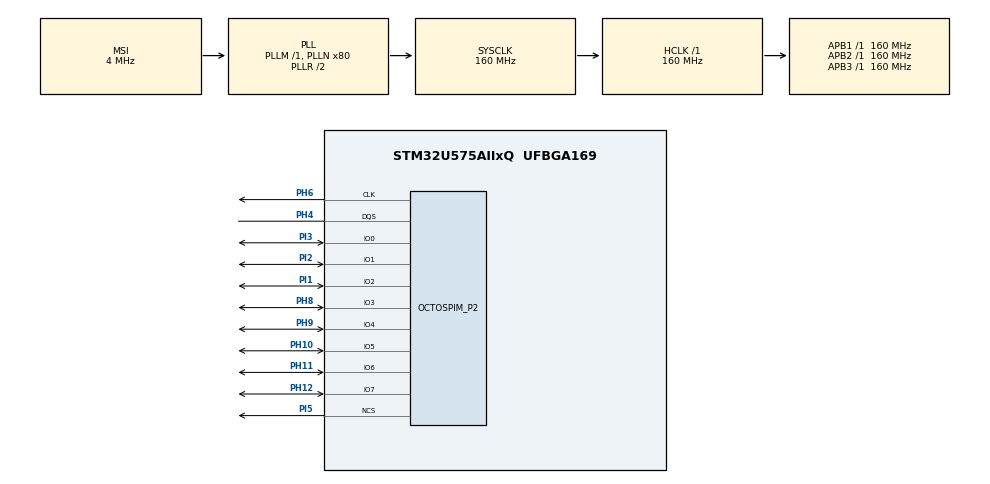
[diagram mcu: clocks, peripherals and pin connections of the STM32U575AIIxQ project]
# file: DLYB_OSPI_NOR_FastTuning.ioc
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CORTEX_M33_NS.userName=CORTEX_M33
Mcu.Family=STM32U5
Mcu.Name=STM32U575AIIxQ
Mcu.Package=UFBGA169
NVIC.OCTOSPI2_IRQn=true\:0\:0\:false\:false\:true\:true\:true\:true
NVIC.PriorityGroup=NVIC_PRIORITYGROUP_4
OCTOSPI2.ChipSelectBoundary=0
OCTOSPI2.ChipSelectHighTime=2
OCTOSPI2.ClockPrescaler=2
OCTOSPI2.DelayBlockBypass=HAL_OSPI_DELAY_BLOCK_USED
OCTOSPI2.DelayHoldQuarterCycle=HAL_OSPI_DHQC_ENABLE
OCTOSPI2.DeviceSize=26
OCTOSPI2.FifoThreshold=4
OCTOSPI2.MemoryType=HAL_OSPI_MEMTYPE_MACRONIX
OCTOSPI2.PhaseSel=0x2
OCTOSPI2.Units=0x38
PH10.GPIO_Speed_High_Default=GPIO_SPEED_FREQ_HIGH
PH10.Mode=OCTOSPI2_IOH_Port2H
PH10.Signal=OCTOSPIM_P2_IO5
PH11.GPIO_Speed_High_Default=GPIO_SPEED_FREQ_HIGH
PH11.Mode=OCTOSPI2_IOH_Port2H
PH11.Signal=OCTOSPIM_P2_IO6
PH12.GPIO_Speed_High_Default=GPIO_SPEED_FREQ_HIGH
PH12.Mode=OCTOSPI2_IOH_Port2H
PH12.Signal=OCTOSPIM_P2_IO7
PH4.GPIO_PuPd=GPIO_NOPULL
PH4.GPIO_Speed_High_Default=GPIO_SPEED_FREQ_HIGH
PH4.Mode=OCTOSPI2_Port2_DQS
PH4.Signal=OCTOSPIM_P2_DQS
PH6.GPIO_Speed_High_Default=GPIO_SPEED_FREQ_HIGH
PH6.Mode=O2_P2_CLK
PH6.Signal=OCTOSPIM_P2_CLK
PH8.GPIO_Speed_High_Default=GPIO_SPEED_FREQ_HIGH
PH8.Mode=OCTOSPI2_IOL_Port2L
PH8.Signal=OCTOSPIM_P2_IO3
PH9.GPIO_Speed_High_Default=GPIO_SPEED_FREQ_HIGH
PH9.Mode=OCTOSPI2_IOH_Port2H
PH9.Signal=OCTOSPIM_P2_IO4
PI1.GPIO_Speed_High_Default=GPIO_SPEED_FREQ_HIGH
PI1.Mode=OCTOSPI2_IOL_Port2L
PI1.Signal=OCTOSPIM_P2_IO2
PI2.GPIO_Speed_High_Default=GPIO_SPEED_FREQ_HIGH
PI2.Mode=OCTOSPI2_IOL_Port2L
PI2.Signal=OCTOSPIM_P2_IO1
PI3.GPIO_Speed_High_Default=GPIO_SPEED_FREQ_HIGH
PI3.Mode=OCTOSPI2_IOL_Port2L
PI3.Signal=OCTOSPIM_P2_IO0
PI5.GPIO_PuPd=GPIO_NOPULL
PI5.GPIO_Speed_High_Default=GPIO_SPEED_FREQ_HIGH
PI5.Mode=OCTOSPI2_Port2_NCS
PI5.Signal=OCTOSPIM_P2_NCS
PWR.PowerMode=PWR_SMPS_SUPPLY
ProjectManager.HeapSize=0x200
ProjectManager.StackSize=0x1000
ProjectManager.TargetToolchain=EWARM V8.50
RCC.ADCFreq_Value=16000000
RCC.AHBFreq_Value=160000000
RCC.APB1Freq_Value=160000000
RCC.APB1TimFreq_Value=160000000
RCC.APB2Freq_Value=160000000
RCC.APB2TimFreq_Value=160000000
RCC.APB3Freq_Value=160000000
RCC.CortexFreq_Value=160000000
RCC.DACCLockSelectionVirtual=RCC_DAC1CLKSOURCE_LSI
RCC.DACCLockSelectionVirtualString=RCC_DAC1CLKSOURCE_LSI
RCC.EPOD_VALUE=4000000
RCC.HCLKFreq_Value=160000000
RCC.HSE_VALUE=16000000
RCC.HSI48_VALUE=48000000
RCC.HSI_VALUE=16000000
RCC.LSE_VALUE=32768
RCC.LSIDIV_VALUE=32000
RCC.MSI_VALUE=4000000
RCC.PLLN=80
RCC.SYSCLKFreq_VALUE=160000000
RCC.SYSCLKSource=RCC_SYSCLKSOURCE_PLLCLK
RCC.USBFreq_Value=48000000
RCC.VCOOutputFreq_Value=320000000
VP_ICACHE_VS_ICACHE.Mode=DirectMappedCache
VP_LPBAMQUEUE_VS_QUEUE.Mode=QUEUEMODE
VP_LPBAM_VS_SIG1.Mode=SmartRun
VP_LPBAM_VS_SIG4.Mode=LPDMA1
VP_OCTOSPI2_VS_octo.Mode=octo_mode
VP_PWR_VS_DBSignals.Mode=DisableDeadBatterySignals
VP_PWR_VS_LPOM.Mode=PowerOptimisation
VP_PWR_VS_SECSignals.Mode=Security/Privilege
board=custom

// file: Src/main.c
/* USER CODE BEGIN Header */
/**
  ******************************************************************************
  * @file           : main.c
  * @brief          : Main program body
  ******************************************************************************
  * @attention
  *
  * Copyright (c) 2021 STMicroelectronics.
  * All rights reserved.
  *
  * This software is licensed under terms that can be found in the LICENSE file
  * in the root directory of this software component.
  * If no LICENSE file comes with this software, it is provided AS-IS.
  *
  ******************************************************************************
  */
/* USER CODE END Header */
#include "main.h"

OSPI_HandleTypeDef hospi2;

/* USER CODE BEGIN PV */
__IO uint8_t CmdCplt;

/* Buffer used for transmission */
uint8_t aTxBuffer[] = " ****Memory-mapped OSPI communication****  ****Memory-mapped OSPI communication****  ****Memory-mapped OSPI communication****  ****Memory-mapped OSPI communication****  ****Memory-mapped OSPI communication****  ****Memory-mapped OSPI communication**** ";
LL_DLYB_CfgTypeDef dlyb_cfg,dlyb_cfg_test;
/* USER CODE END PV */

void SystemClock_Config(void);
static void SystemPower_Config(void);
static void MX_GPIO_Init(void);
static void MX_ICACHE_Init(void);
static void MX_OCTOSPI2_Init(void);
/* USER CODE BEGIN PFP */
static void OSPI_WriteEnable(OSPI_HandleTypeDef *hospi);
static void OSPI_AutoPollingMemReady(OSPI_HandleTypeDef *hospi);
static void OSPI_OctalDtrModeCfg(OSPI_HandleTypeDef *hospi);
/* USER CODE END PFP */

int main(void)
{

  /* USER CODE BEGIN 1 */
  /* STM32U5xx HAL library initialization:
       - Systick timer is configured by default as source of time base, but user
         can eventually implement his proper time base source (a general purpose
         timer for example or other time source), keeping in mind that Time base
         duration should be kept 1ms since PPP_TIMEOUT_VALUEs are defined and
         handled in milliseconds basis.
       - Set NVIC Group Priority to 3
       - Low Level Initialization
     */
  /* USER CODE END 1 */

  /* MCU Configuration--------------------------------------------------------*/

  /* Reset of all peripherals, Initializes the Flash interface and the Systick. */
  HAL_Init();

  /* USER CODE BEGIN Init */
  OSPI_RegularCmdTypeDef sCommand = {0};
  OSPI_MemoryMappedTypeDef sMemMappedCfg = {0};
  uint32_t address = 0;
  uint16_t index;
  __IO uint8_t step = 0;
  __IO uint8_t *mem_addr;
  /* USER CODE END Init */

  /* Configure the System Power */
  SystemPower_Config();

  /* Configure the system clock */
  SystemClock_Config();

  /* USER CODE BEGIN SysInit */
  BSP_LED_Init(LED_GREEN);
  BSP_LED_Init(LED_RED);
  /* USER CODE END SysInit */

  /* Initialize all configured peripherals */
  MX_GPIO_Init();
  MX_ICACHE_Init();
  MX_OCTOSPI2_Init();
  /* USER CODE BEGIN 2 */
  /* Delay block configuration ------------------------------------------------ */
  if (HAL_OSPI_DLYB_GetClockPeriod(&hospi2,&dlyb_cfg) != HAL_OK)
  {
    BSP_LED_On(LED_RED);
  }

  /*when DTR, PhaseSel is divided by 4 (emperic value)*/
  dlyb_cfg.PhaseSel /=4;

  /* save the present configuration for check*/
  dlyb_cfg_test = dlyb_cfg;

  /*set delay block configuration*/
  HAL_OSPI_DLYB_SetConfig(&hospi2,&dlyb_cfg);

  /*check the set value*/
  HAL_OSPI_DLYB_GetConfig(&hospi2,&dlyb_cfg);
  if ((dlyb_cfg.PhaseSel != dlyb_cfg_test.PhaseSel) || (dlyb_cfg.Units != dlyb_cfg_test.Units))
  {
    BSP_LED_On(LED_RED);
  }

  /* Configure the memory in octal mode ------------------------------------- */
  OSPI_OctalDtrModeCfg(&hospi2);

  sCommand.FlashId            = HAL_OSPI_FLASH_ID_1;
  sCommand.InstructionMode    = HAL_OSPI_INSTRUCTION_8_LINES;
  sCommand.InstructionSize    = HAL_OSPI_INSTRUCTION_16_BITS;
  sCommand.InstructionDtrMode = HAL_OSPI_INSTRUCTION_DTR_ENABLE;
  sCommand.AddressSize        = HAL_OSPI_ADDRESS_32_BITS;
  sCommand.AddressDtrMode     = HAL_OSPI_ADDRESS_DTR_ENABLE;
  sCommand.AlternateBytesMode = HAL_OSPI_ALTERNATE_BYTES_NONE;
  sCommand.DataDtrMode        = HAL_OSPI_DATA_DTR_ENABLE;
  sCommand.SIOOMode           = HAL_OSPI_SIOO_INST_EVERY_CMD;

  if(step == 0)
  {
    CmdCplt = 0;

    /* Enable write operations ------------------------------------------ */
    OSPI_WriteEnable(&hospi2);

    /* Erasing Sequence ------------------------------------------------- */
    sCommand.OperationType = HAL_OSPI_OPTYPE_COMMON_CFG;
    sCommand.Instruction   = OCTAL_SECTOR_ERASE_CMD;
    sCommand.AddressMode   = HAL_OSPI_ADDRESS_8_LINES;
    sCommand.Address       = address;
    sCommand.DataMode      = HAL_OSPI_DATA_NONE;
    sCommand.DummyCycles   = 0;
    sCommand.DQSMode       = HAL_OSPI_DQS_DISABLE;

    if (HAL_OSPI_Command_IT(&hospi2, &sCommand) != HAL_OK)
    {
      Error_Handler();
    }

    step++;
  }

  if(step == 1)
  {
    if(CmdCplt != 0)
    {
      CmdCplt = 0;

      /* Configure automatic polling mode to wait for end of erase ------ */
      OSPI_AutoPollingMemReady(&hospi2);

      /* Enable write operations ---------------------------------------- */
      OSPI_WriteEnable(&hospi2);

      /* Memory-mapped mode configuration ------------------------------- */
      sCommand.OperationType = HAL_OSPI_OPTYPE_WRITE_CFG;
      sCommand.Instruction   = OCTAL_PAGE_PROG_CMD;
      sCommand.DataMode      = HAL_OSPI_DATA_8_LINES;
      sCommand.NbData        = 1;
      sCommand.DQSMode       = HAL_OSPI_DQS_ENABLE;

      if (HAL_OSPI_Command(&hospi2, &sCommand, HAL_OSPI_TIMEOUT_DEFAULT_VALUE) != HAL_OK)
      {
        Error_Handler();
      }

      sCommand.OperationType = HAL_OSPI_OPTYPE_READ_CFG;
      sCommand.Instruction   = OCTAL_IO_DTR_READ_CMD;
      sCommand.DummyCycles   = DUMMY_CLOCK_CYCLES_READ;
      sCommand.DQSMode       = HAL_OSPI_DQS_ENABLE;

      if (HAL_OSPI_Command(&hospi2, &sCommand, HAL_OSPI_TIMEOUT_DEFAULT_VALUE) != HAL_OK)
      {
        Error_Handler();
      }

      sMemMappedCfg.TimeOutActivation = HAL_OSPI_TIMEOUT_COUNTER_ENABLE;
      sMemMappedCfg.TimeOutPeriod     = 0x40;
      if (HAL_OSPI_MemoryMapped(&hospi2, &sMemMappedCfg) != HAL_OK)
      {
        Error_Handler();
      }

      /* Writing Sequence ----------------------------------------------- */
      mem_addr = (uint8_t *)(OCTOSPI2_BASE + address);
      for (index = 0; index < BUFFERSIZE; index++)
      {
        *mem_addr = aTxBuffer[index];
        mem_addr++;
      }

      /* In memory-mapped mode, not possible to check if the memory is ready
      after the programming. So a delay corresponding to max page programming
      time is added */
      HAL_Delay(MEMORY_PAGE_PROG_DELAY);

      /* Reading Sequence ----------------------------------------------- */
      mem_addr = (uint8_t *)(OCTOSPI2_BASE + address);
      for (index = 0; index < BUFFERSIZE; index++)
      {
        if (*mem_addr != aTxBuffer[index])
        {
          BSP_LED_On(LED_RED);
        }
        mem_addr++;
      }
      BSP_LED_On(LED_GREEN);

      address += OSPI_PAGE_SIZE;
      if(address >= OSPI_END_ADDR)
      {
        address = 0;
      }

      /* Abort OctoSPI driver to stop the memory-mapped mode ------------ */
      if (HAL_OSPI_Abort(&hospi2) != HAL_OK)
      {
        Error_Handler();
      }

      step = 0;
    }
  }
  /* USER CODE END 2 */

  /* Infinite loop */
  while (1)
  {

  }
}

void SystemClock_Config(void)
{
  RCC_OscInitTypeDef RCC_OscInitStruct = {0};
  RCC_ClkInitTypeDef RCC_ClkInitStruct = {0};

  /** Configure the main internal regulator output voltage
  */
  if (HAL_PWREx_ControlVoltageScaling(PWR_REGULATOR_VOLTAGE_SCALE1) != HAL_OK)
  {
    Error_Handler();
  }

  /** Initializes the CPU, AHB and APB buses clocks
  */
  RCC_OscInitStruct.OscillatorType = RCC_OSCILLATORTYPE_MSI;
  RCC_OscInitStruct.MSIState = RCC_MSI_ON;
  RCC_OscInitStruct.MSICalibrationValue = RCC_MSICALIBRATION_DEFAULT;
  RCC_OscInitStruct.MSIClockRange = RCC_MSIRANGE_4;
  RCC_OscInitStruct.PLL.PLLState = RCC_PLL_ON;
  RCC_OscInitStruct.PLL.PLLSource = RCC_PLLSOURCE_MSI;
  RCC_OscInitStruct.PLL.PLLMBOOST = RCC_PLLMBOOST_DIV1;
  RCC_OscInitStruct.PLL.PLLM = 1;
  RCC_OscInitStruct.PLL.PLLN = 80;
  RCC_OscInitStruct.PLL.PLLP = 2;
  RCC_OscInitStruct.PLL.PLLQ = 2;
  RCC_OscInitStruct.PLL.PLLR = 2;
  RCC_OscInitStruct.PLL.PLLRGE = RCC_PLLVCIRANGE_0;
  RCC_OscInitStruct.PLL.PLLFRACN = 0;
  if (HAL_RCC_OscConfig(&RCC_OscInitStruct) != HAL_OK)
  {
    Error_Handler();
  }

  /** Initializes the CPU, AHB and APB buses clocks
  */
  RCC_ClkInitStruct.ClockType = RCC_CLOCKTYPE_HCLK|RCC_CLOCKTYPE_SYSCLK
                              |RCC_CLOCKTYPE_PCLK1|RCC_CLOCKTYPE_PCLK2
                              |RCC_CLOCKTYPE_PCLK3;
  RCC_ClkInitStruct.SYSCLKSource = RCC_SYSCLKSOURCE_PLLCLK;
  RCC_ClkInitStruct.AHBCLKDivider = RCC_SYSCLK_DIV1;
  RCC_ClkInitStruct.APB1CLKDivider = RCC_HCLK_DIV1;
  RCC_ClkInitStruct.APB2CLKDivider = RCC_HCLK_DIV1;
  RCC_ClkInitStruct.APB3CLKDivider = RCC_HCLK_DIV1;

  if (HAL_RCC_ClockConfig(&RCC_ClkInitStruct, FLASH_LATENCY_4) != HAL_OK)
  {
    Error_Handler();
  }
}

/**
  * @brief Power Configuration
  * @retval None
  */
static void SystemPower_Config(void)
{

  /*
   * Disable the internal Pull-Up in Dead Battery pins of UCPD peripheral
   */
  HAL_PWREx_DisableUCPDDeadBattery();

  /*
   * Switch to SMPS regulator instead of LDO
   */
  if (HAL_PWREx_ConfigSupply(PWR_SMPS_SUPPLY) != HAL_OK)
  {
    Error_Handler();
  }
}

static void MX_ICACHE_Init(void)
{

  /** Enable instruction cache in 1-way (direct mapped cache)
  */
  if (HAL_ICACHE_ConfigAssociativityMode(ICACHE_1WAY) != HAL_OK)
  {
    Error_Handler();
  }
  if (HAL_ICACHE_Enable() != HAL_OK)
  {
    Error_Handler();
  }

}

static void MX_OCTOSPI2_Init(void)
{

  OSPIM_CfgTypeDef sOspiManagerCfg = {0};
  HAL_OSPI_DLYB_CfgTypeDef HAL_OSPI_DLYB_Cfg_Struct = {0};

  /* OCTOSPI2 parameter configuration*/
  hospi2.Instance = OCTOSPI2;
  hospi2.Init.FifoThreshold = 4;
  hospi2.Init.DualQuad = HAL_OSPI_DUALQUAD_DISABLE;
  hospi2.Init.MemoryType = HAL_OSPI_MEMTYPE_MACRONIX;
  hospi2.Init.DeviceSize = 26;
  hospi2.Init.ChipSelectHighTime = 2;
  hospi2.Init.FreeRunningClock = HAL_OSPI_FREERUNCLK_DISABLE;
  hospi2.Init.ClockMode = HAL_OSPI_CLOCK_MODE_0;
  hospi2.Init.WrapSize = HAL_OSPI_WRAP_NOT_SUPPORTED;
  hospi2.Init.ClockPrescaler = 2;
  hospi2.Init.SampleShifting = HAL_OSPI_SAMPLE_SHIFTING_NONE;
  hospi2.Init.DelayHoldQuarterCycle = HAL_OSPI_DHQC_ENABLE;
  hospi2.Init.ChipSelectBoundary = 0;
  hospi2.Init.DelayBlockBypass = HAL_OSPI_DELAY_BLOCK_USED;
  hospi2.Init.MaxTran = 0;
  hospi2.Init.Refresh = 0;
  if (HAL_OSPI_Init(&hospi2) != HAL_OK)
  {
    Error_Handler();
  }
  sOspiManagerCfg.ClkPort = 2;
  sOspiManagerCfg.DQSPort = 2;
  sOspiManagerCfg.NCSPort = 2;
  sOspiManagerCfg.IOLowPort = HAL_OSPIM_IOPORT_2_LOW;
  sOspiManagerCfg.IOHighPort = HAL_OSPIM_IOPORT_2_HIGH;
  if (HAL_OSPIM_Config(&hospi2, &sOspiManagerCfg, HAL_OSPI_TIMEOUT_DEFAULT_VALUE) != HAL_OK)
  {
    Error_Handler();
  }
  HAL_OSPI_DLYB_Cfg_Struct.Units = 0x38;
  HAL_OSPI_DLYB_Cfg_Struct.PhaseSel = 0x2;
  if (HAL_OSPI_DLYB_SetConfig(&hospi2, &HAL_OSPI_DLYB_Cfg_Struct) != HAL_OK)
  {
    Error_Handler();
  }

}

static void MX_GPIO_Init(void)
{

  /* GPIO Ports Clock Enable */
  __HAL_RCC_GPIOI_CLK_ENABLE();
  __HAL_RCC_GPIOH_CLK_ENABLE();

}

/* USER CODE BEGIN 4 */
/**
  * @brief  Command completed callback.
  * @param  hospi: OSPI handle
  * @retval None
  */
void HAL_OSPI_CmdCpltCallback(OSPI_HandleTypeDef *hospi)
{
  CmdCplt++;
}

/**
  * @brief  Transfer Error callback.
  * @param  hospi: OSPI handle
  * @retval None
  */
void HAL_OSPI_ErrorCallback(OSPI_HandleTypeDef *hospi)
{
  Error_Handler();
}

/**
  * @brief  This function send a Write Enable and wait it is effective.
  * @param  hospi: OSPI handle
  * @retval None
  */
static void OSPI_WriteEnable(OSPI_HandleTypeDef *hospi)
{
  OSPI_RegularCmdTypeDef  sCommand = {0};
  OSPI_AutoPollingTypeDef sConfig  = {0};

  /* Enable write operations ------------------------------------------ */
  sCommand.OperationType      = HAL_OSPI_OPTYPE_COMMON_CFG;
  sCommand.FlashId            = HAL_OSPI_FLASH_ID_1;
  sCommand.Instruction        = OCTAL_WRITE_ENABLE_CMD;
  sCommand.InstructionMode    = HAL_OSPI_INSTRUCTION_8_LINES;
  sCommand.InstructionSize    = HAL_OSPI_INSTRUCTION_16_BITS;
  sCommand.InstructionDtrMode = HAL_OSPI_INSTRUCTION_DTR_ENABLE;
  sCommand.AddressMode        = HAL_OSPI_ADDRESS_NONE;
  sCommand.AlternateBytesMode = HAL_OSPI_ALTERNATE_BYTES_NONE;
  sCommand.DataMode           = HAL_OSPI_DATA_NONE;
  sCommand.DummyCycles        = 0;
  sCommand.DQSMode            = HAL_OSPI_DQS_DISABLE;
  sCommand.SIOOMode           = HAL_OSPI_SIOO_INST_EVERY_CMD;

  if (HAL_OSPI_Command(hospi, &sCommand, HAL_OSPI_TIMEOUT_DEFAULT_VALUE) != HAL_OK)
  {
    Error_Handler();
  }

  /* Configure automatic polling mode to wait for write enabling ---- */
  sCommand.Instruction    = OCTAL_READ_STATUS_REG_CMD;
  sCommand.Address        = 0x0;
  sCommand.AddressMode    = HAL_OSPI_ADDRESS_8_LINES;
  sCommand.AddressSize    = HAL_OSPI_ADDRESS_32_BITS;
  sCommand.AddressDtrMode = HAL_OSPI_ADDRESS_DTR_ENABLE;
  sCommand.DataMode       = HAL_OSPI_DATA_8_LINES;
  sCommand.DataDtrMode    = HAL_OSPI_DATA_DTR_ENABLE;
  sCommand.NbData         = 2;
  sCommand.DummyCycles    = DUMMY_CLOCK_CYCLES_READ_REG;
  sCommand.DQSMode        = HAL_OSPI_DQS_ENABLE;

  if (HAL_OSPI_Command(hospi, &sCommand, HAL_OSPI_TIMEOUT_DEFAULT_VALUE) != HAL_OK)
  {
    Error_Handler();
  }

  sConfig.Match         = WRITE_ENABLE_MATCH_VALUE;
  sConfig.Mask          = WRITE_ENABLE_MASK_VALUE;
  sConfig.MatchMode     = HAL_OSPI_MATCH_MODE_AND;
  sConfig.Interval      = AUTO_POLLING_INTERVAL;
  sConfig.AutomaticStop = HAL_OSPI_AUTOMATIC_STOP_ENABLE;

  if (HAL_OSPI_AutoPolling(hospi, &sConfig, HAL_OSPI_TIMEOUT_DEFAULT_VALUE) != HAL_OK)
  {
    Error_Handler();
  }
}

/**
  * @brief  This function read the SR of the memory and wait the EOP.
  * @param  hospi: OSPI handle
  * @retval None
  */
static void OSPI_AutoPollingMemReady(OSPI_HandleTypeDef *hospi)
{
  OSPI_RegularCmdTypeDef  sCommand = {0};
  OSPI_AutoPollingTypeDef sConfig  = {0};

  /* Configure automatic polling mode to wait for memory ready ------ */
  sCommand.OperationType      = HAL_OSPI_OPTYPE_COMMON_CFG;
  sCommand.FlashId            = HAL_OSPI_FLASH_ID_1;
  sCommand.Instruction        = OCTAL_READ_STATUS_REG_CMD;
  sCommand.InstructionMode    = HAL_OSPI_INSTRUCTION_8_LINES;
  sCommand.InstructionSize    = HAL_OSPI_INSTRUCTION_16_BITS;
  sCommand.InstructionDtrMode = HAL_OSPI_INSTRUCTION_DTR_ENABLE;
  sCommand.Address            = 0x0;
  sCommand.AddressMode        = HAL_OSPI_ADDRESS_8_LINES;
  sCommand.AddressSize        = HAL_OSPI_ADDRESS_32_BITS;
  sCommand.AddressDtrMode     = HAL_OSPI_ADDRESS_DTR_ENABLE;
  sCommand.AlternateBytesMode = HAL_OSPI_ALTERNATE_BYTES_NONE;
  sCommand.DataMode           = HAL_OSPI_DATA_8_LINES;
  sCommand.DataDtrMode        = HAL_OSPI_DATA_DTR_ENABLE;
  sCommand.NbData             = 2;
  sCommand.DummyCycles        = DUMMY_CLOCK_CYCLES_READ_REG;
  sCommand.DQSMode            = HAL_OSPI_DQS_ENABLE;
  sCommand.SIOOMode           = HAL_OSPI_SIOO_INST_EVERY_CMD;

  if (HAL_OSPI_Command(hospi, &sCommand, HAL_OSPI_TIMEOUT_DEFAULT_VALUE) != HAL_OK)
  {
    Error_Handler();
  }

  sConfig.Match         = MEMORY_READY_MATCH_VALUE;
  sConfig.Mask          = MEMORY_READY_MASK_VALUE;
  sConfig.MatchMode     = HAL_OSPI_MATCH_MODE_AND;
  sConfig.Interval      = AUTO_POLLING_INTERVAL;
  sConfig.AutomaticStop = HAL_OSPI_AUTOMATIC_STOP_ENABLE;

  if (HAL_OSPI_AutoPolling(hospi, &sConfig, HAL_OSPI_TIMEOUT_DEFAULT_VALUE) != HAL_OK)
  {
    Error_Handler();
  }
}

/**
  * @brief  This function configure the memory in Octal DTR mode.
  * @param  hospi: OSPI handle
  * @retval None
  */
static void OSPI_OctalDtrModeCfg(OSPI_HandleTypeDef *hospi)
{
  OSPI_RegularCmdTypeDef  sCommand = {0};
  OSPI_AutoPollingTypeDef sConfig  = {0};
  uint8_t reg;

  /* Enable write operations ---------------------------------------- */
  sCommand.OperationType      = HAL_OSPI_OPTYPE_COMMON_CFG;
  sCommand.FlashId            = HAL_OSPI_FLASH_ID_1;
  sCommand.Instruction        = WRITE_ENABLE_CMD;
  sCommand.InstructionMode    = HAL_OSPI_INSTRUCTION_1_LINE;
  sCommand.InstructionSize    = HAL_OSPI_INSTRUCTION_8_BITS;
  sCommand.InstructionDtrMode = HAL_OSPI_INSTRUCTION_DTR_DISABLE;
  sCommand.AddressMode        = HAL_OSPI_ADDRESS_NONE;
  sCommand.AlternateBytesMode = HAL_OSPI_ALTERNATE_BYTES_NONE;
  sCommand.DataMode           = HAL_OSPI_DATA_NONE;
  sCommand.DummyCycles        = 0;
  sCommand.DQSMode            = HAL_OSPI_DQS_DISABLE;
  sCommand.SIOOMode           = HAL_OSPI_SIOO_INST_EVERY_CMD;

  if (HAL_OSPI_Command(hospi, &sCommand, HAL_OSPI_TIMEOUT_DEFAULT_VALUE) != HAL_OK)
  {
    Error_Handler();
  }

  /* Configure automatic polling mode to wait for write enabling ---- */
  sCommand.Instruction = READ_STATUS_REG_CMD;
  sCommand.DataMode    = HAL_OSPI_DATA_1_LINE;
  sCommand.DataDtrMode = HAL_OSPI_DATA_DTR_DISABLE;
  sCommand.NbData      = 1;

  if (HAL_OSPI_Command(hospi, &sCommand, HAL_OSPI_TIMEOUT_DEFAULT_VALUE) != HAL_OK)
  {
    Error_Handler();
  }

  sConfig.Match         = WRITE_ENABLE_MATCH_VALUE;
  sConfig.Mask          = WRITE_ENABLE_MASK_VALUE;
  sConfig.MatchMode     = HAL_OSPI_MATCH_MODE_AND;
  sConfig.Interval      = AUTO_POLLING_INTERVAL;
  sConfig.AutomaticStop = HAL_OSPI_AUTOMATIC_STOP_ENABLE;

  if (HAL_OSPI_AutoPolling(hospi, &sConfig, HAL_OSPI_TIMEOUT_DEFAULT_VALUE) != HAL_OK)
  {
    Error_Handler();
  }

  /* Write Configuration register 2 (with new dummy cycles) --------- */
  sCommand.Instruction    = WRITE_CFG_REG_2_CMD;
  sCommand.Address        = CONFIG_REG2_ADDR3;
  sCommand.AddressMode    = HAL_OSPI_ADDRESS_1_LINE;
  sCommand.AddressSize    = HAL_OSPI_ADDRESS_32_BITS;
  sCommand.AddressDtrMode = HAL_OSPI_ADDRESS_DTR_DISABLE;

  if (HAL_OSPI_Command(hospi, &sCommand, HAL_OSPI_TIMEOUT_DEFAULT_VALUE) != HAL_OK)
  {
    Error_Handler();
  }

  reg = CR2_DUMMY_CYCLES_66MHZ;

  if (HAL_OSPI_Transmit(hospi, &reg, HAL_OSPI_TIMEOUT_DEFAULT_VALUE) != HAL_OK)
  {
    Error_Handler();
  }

  /* Wait that the memory is ready ---------------------------------- */
  sCommand.Instruction = READ_STATUS_REG_CMD;
  sCommand.AddressMode = HAL_OSPI_ADDRESS_NONE;

  if (HAL_OSPI_Command(hospi, &sCommand, HAL_OSPI_TIMEOUT_DEFAULT_VALUE) != HAL_OK)
  {
    Error_Handler();
  }

  sConfig.Match = MEMORY_READY_MATCH_VALUE;
  sConfig.Mask  = MEMORY_READY_MASK_VALUE;

  if (HAL_OSPI_AutoPolling(hospi, &sConfig, HAL_OSPI_TIMEOUT_DEFAULT_VALUE) != HAL_OK)
  {
    Error_Handler();
  }

  /* Enable write operations ---------------------------------------- */
  sCommand.Instruction = WRITE_ENABLE_CMD;
  sCommand.DataMode    = HAL_OSPI_DATA_NONE;

  if (HAL_OSPI_Command(hospi, &sCommand, HAL_OSPI_TIMEOUT_DEFAULT_VALUE) != HAL_OK)
  {
    Error_Handler();
  }

  /* Configure automatic polling mode to wait for write enabling ---- */
  sCommand.Instruction = READ_STATUS_REG_CMD;
  sCommand.DataMode    = HAL_OSPI_DATA_1_LINE;

  if (HAL_OSPI_Command(hospi, &sCommand, HAL_OSPI_TIMEOUT_DEFAULT_VALUE) != HAL_OK)
  {
    Error_Handler();
  }

  sConfig.Match = WRITE_ENABLE_MATCH_VALUE;
  sConfig.Mask  = WRITE_ENABLE_MASK_VALUE;

  if (HAL_OSPI_AutoPolling(hospi, &sConfig, HAL_OSPI_TIMEOUT_DEFAULT_VALUE) != HAL_OK)
  {
    Error_Handler();
  }

  /* Write Configuration register 2 (with octal mode) --------------- */
  sCommand.Instruction = WRITE_CFG_REG_2_CMD;
  sCommand.Address     = CONFIG_REG2_ADDR1;
  sCommand.AddressMode = HAL_OSPI_ADDRESS_1_LINE;

  if (HAL_OSPI_Command(hospi, &sCommand, HAL_OSPI_TIMEOUT_DEFAULT_VALUE) != HAL_OK)
  {
    Error_Handler();
  }

  reg = CR2_DTR_OPI_ENABLE;

  if (HAL_OSPI_Transmit(hospi, &reg, HAL_OSPI_TIMEOUT_DEFAULT_VALUE) != HAL_OK)
  {
    Error_Handler();
  }

  /* Wait that the configuration is effective and check that memory is ready */
  HAL_Delay(MEMORY_REG_WRITE_DELAY);

  /* Wait that the memory is ready ---------------------------------- */
  OSPI_AutoPollingMemReady(hospi);
}

/* USER CODE END 4 */

void Error_Handler(void)
{
  /* USER CODE BEGIN Error_Handler_Debug */
  /* User can add his own implementation to report the HAL error return state */
  __disable_irq();
  while (1)
  {
    HAL_Delay(100);
    BSP_LED_Toggle(LED_RED);
  }
  /* USER CODE END Error_Handler_Debug */
}
